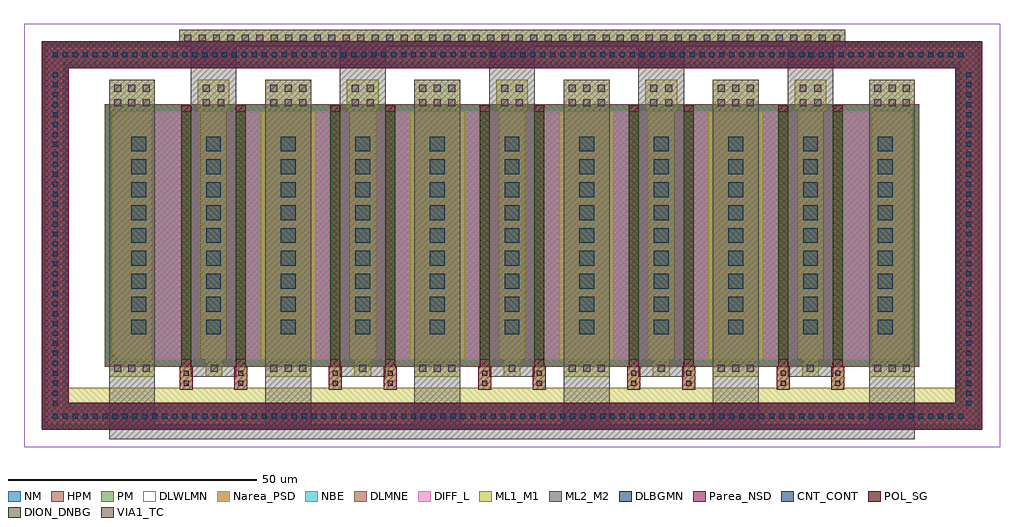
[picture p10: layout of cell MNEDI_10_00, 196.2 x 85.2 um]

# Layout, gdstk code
from math import pi, radians
import gdstk
lib = gdstk.Library(unit=1e-6, precision=1e-09)
def R(c, l, rs):  # rectangles x0, y0, x1, y1
    for r in rs: c.add(gdstk.rectangle(r[:2], r[2:], *l))
def A(c, l, x, y, w, h, nx, ny, dx, dy):  # array of equal rectangles
    R(c, l, [(x+i*dx, y+j*dy, x+i*dx+w, y+j*dy+h) for i in range(nx) for j in range(ny)])
def P(c, l, *ps):  # polygons
    for p in ps: c.add(gdstk.Polygon(p, *l))
DIFF_L = (3, 0)
NM = (7, 0)
POL_SG = (8, 0)
Narea_PSD = (9, 0)
CNT_CONT = (11, 0)
ML1_M1 = (13, 0)
VIA1_TC = (19, 0)
ML2_M2 = (20, 0)
Parea_NSD = (28, 0)
HPM = (33, 0)
PM = (35, 0)
DION_DNBG = (117, 0)
NBE = (147, 0)
DLWLMN = (151, 0)
DLMNE = (170, 0)
DLBGMN = (178, 0)

bgmn_cdns_696586995290 = lib.new_cell('BGMN_CDNS_696586995290')
R(bgmn_cdns_696586995290, DIFF_L, [(0,0,186.2,2.6)])
R(bgmn_cdns_696586995290, NM, [(-1.4,-1.4,187.6,4)])
A(bgmn_cdns_696586995290, CNT_CONT, 0.8, 0.8, 1, 1, 92, 1, 2, 0)
R(bgmn_cdns_696586995290, ML1_M1, [(0,0,186.2,2.6)])
R(bgmn_cdns_696586995290, Parea_NSD, [(-1.4,-1.4,187.6,4)])
R(bgmn_cdns_696586995290, HPM, [(-1.4,-1.4,187.6,4)])
R(bgmn_cdns_696586995290, PM, [(-1.4,-1.4,187.6,4)])

mne_cdns_696586995291 = lib.new_cell('MNE_CDNS_696586995291')
R(mne_cdns_696586995291, DIFF_L, [(10,0,12,50)])
P(mne_cdns_696586995291, DIFF_L, [(12,0),(12,50),(24.6,50),(26,48.6),(26,1.4),(24.6,0)],
  [(1.4,0),(0,1.4),(0,48.6),(1.4,50),(10,50),(10,0)])
R(mne_cdns_696586995291, NM, [(-1.4,-1.4,27.4,51.4)])
R(mne_cdns_696586995291, POL_SG, [(10,-1.2,12,0), (10,-1.2,12,51.2), (10,50,12,51.2)])
R(mne_cdns_696586995291, Narea_PSD, [(-1.4,-1.4,27.4,51.4)])
A(mne_cdns_696586995291, CNT_CONT, 4, 5.1, 3, 3, 1, 9, 0, 4.6)
A(mne_cdns_696586995291, CNT_CONT, 19, 5.1, 3, 3, 1, 9, 0, 4.6)
R(mne_cdns_696586995291, ML1_M1, [(2.8,0,8.2,50), (17.8,0,26,50)])
R(mne_cdns_696586995291, HPM, [(-1.4,-1.4,27.4,51.4)])
R(mne_cdns_696586995291, PM, [(-1.4,-1.4,27.4,51.4)])
R(mne_cdns_696586995291, DION_DNBG, [(10,0,12,50)])
R(mne_cdns_696586995291, NBE, [(-1.4,-1.4,27.4,51.4)])
R(mne_cdns_696586995291, DLMNE, [(-1.4,-1.4,27.4,51.4)])

bgmn_cdns_696586995292 = lib.new_cell('BGMN_CDNS_696586995292')
R(bgmn_cdns_696586995292, DIFF_L, [(0,0,70,2.6)])
R(bgmn_cdns_696586995292, NM, [(-1.4,-1.4,71.4,4)])
A(bgmn_cdns_696586995292, CNT_CONT, 0.8, 0.8, 1, 1, 34, 1, 2, 0)
R(bgmn_cdns_696586995292, ML1_M1, [(0,0,70,2.6)])
R(bgmn_cdns_696586995292, Parea_NSD, [(-1.4,-1.4,71.4,4)])
R(bgmn_cdns_696586995292, HPM, [(-1.4,-1.4,71.4,4)])
R(bgmn_cdns_696586995292, PM, [(-1.4,-1.4,71.4,4)])

wlmn_cdns_696586995293 = lib.new_cell('WLMN_CDNS_696586995293')
R(wlmn_cdns_696586995293, DLWLMN, [(0,0,196.2,85.2)])

tc14_cdns_696586995290 = lib.new_cell('TC14_CDNS_696586995290')
R(tc14_cdns_696586995290, ML1_M1, [(-4.6,-3.1,4.6,3.2)])
A(tc14_cdns_696586995290, VIA1_TC, -3.6, -2.1, 1.4, 1.4, 3, 2, 2.9, 2.9)
R(tc14_cdns_696586995290, ML2_M2, [(-4.6,-3.1,4.6,3.2)])

tc14_cdns_696586995291 = lib.new_cell('TC14_CDNS_696586995291')
R(tc14_cdns_696586995291, ML1_M1, [(-1.7,-3.1,1.7,3.2)])
R(tc14_cdns_696586995291, VIA1_TC, [(-0.7,-2.1,0.7,-0.7), (-0.7,0.8,0.7,2.2)])
R(tc14_cdns_696586995291, ML2_M2, [(-1.7,-3.1,1.7,3.2)])

tc14_cdns_696586995292 = lib.new_cell('TC14_CDNS_696586995292')
R(tc14_cdns_696586995292, ML1_M1, [(-4.6,-1.7,4.6,1.7)])
A(tc14_cdns_696586995292, VIA1_TC, -3.6, -0.7, 1.4, 1.4, 3, 1, 2.9, 0)
R(tc14_cdns_696586995292, ML2_M2, [(-4.6,-1.7,4.6,1.7)])

tc14_cdns_696586995293 = lib.new_cell('TC14_CDNS_696586995293')
R(tc14_cdns_696586995293, ML1_M1, [(-1.7,-1.7,1.7,1.7)])
R(tc14_cdns_696586995293, VIA1_TC, [(-0.7,-0.7,0.7,0.7)])
R(tc14_cdns_696586995293, ML2_M2, [(-1.7,-1.7,1.7,1.7)])

sgct_cdns_696586995294 = lib.new_cell('SGCT_CDNS_696586995294')
R(sgct_cdns_696586995294, POL_SG, [(-1.3,-2.3,1.3,2.3)])
R(sgct_cdns_696586995294, CNT_CONT, [(-0.5,-1.5,0.5,-0.5), (-0.5,0.5,0.5,1.5)])
R(sgct_cdns_696586995294, ML1_M1, [(-1.3,-2.3,1.3,2.3)])

tc14_cdns_696586995295 = lib.new_cell('TC14_CDNS_696586995295')
R(tc14_cdns_696586995295, ML1_M1, [(-66.9,-1.7,67,1.7)])
A(tc14_cdns_696586995295, VIA1_TC, -65.9, -0.7, 1.4, 1.4, 46, 1, 2.9, 0)
R(tc14_cdns_696586995295, ML2_M2, [(-66.9,-1.7,67,1.7)])

mnedi_10_00 = lib.new_cell('MNEDI_10_00')
R(mnedi_10_00, POL_SG, [(31.6,16.2,33.6,16.4), (42.6,16.2,44.6,16.4), (61.6,16.2,63.6,16.4), (72.6,16.2,74.6,16.4), (91.6,16.2,93.6,16.4), (102.6,16.2,104.6,16.4), (121.6,16.2,123.6,16.4), (132.6,16.2,134.6,16.4), (151.6,16.2,153.6,16.4), (162.6,16.2,164.6,16.4)])
R(mnedi_10_00, ML1_M1, [(7.6,7.6,188.6,12)])
A(mnedi_10_00, ML2_M2, 48.5, 1.6, 9.2, 72.3, 4, 1, 30, 0)
A(mnedi_10_00, ML2_M2, 33.5, 14.2, 9.2, 69.8, 5, 1, 30, 0)
R(mnedi_10_00, ML2_M2, [(17.1,1.6,26.3,73.9), (17.1,1.6,18.6,3.1), (169.9,1.6,179.1,73.9), (31.5,83,32.5,84)])
R(mnedi_10_00, DLBGMN, [(3.6,3.6,192.6,9), (3.6,6.2,9,79), (187.2,6.2,192.6,79), (3.6,76.2,192.6,81.6)])
mnedi_10_00.add(gdstk.FlexPath([(189.9,4.6),(189.9,80.6)], 3.4, ends="flush", simple_path=True, layer=13, datatype=0))  # ML1_M1
mnedi_10_00.add(gdstk.FlexPath([(4.6,6.3),(191.2,6.3)], 3.4, ends="flush", simple_path=True, layer=13, datatype=0))  # ML1_M1
mnedi_10_00.add(gdstk.FlexPath([(4.6,78.9),(191.6,78.9)], 3.4, ends="flush", simple_path=True, layer=13, datatype=0))  # ML1_M1
mnedi_10_00.add(gdstk.FlexPath([(6.3,4.6),(6.3,80.6)], 3.4, ends="flush", simple_path=True, layer=13, datatype=0))  # ML1_M1
mnedi_10_00.add(gdstk.FlexPath([(179.1,3.1),(17.1,3.1)], 3, ends="flush", simple_path=True, layer=20, datatype=0))  # ML2_M2
mnedi_10_00.add(gdstk.Reference(bgmn_cdns_696586995290, (5,77.6)))
mnedi_10_00.add(gdstk.Reference(bgmn_cdns_696586995290, (5,5)))
mnedi_10_00.add(gdstk.Reference(mne_cdns_696586995291, (152.6,17.6)))
mnedi_10_00.add(gdstk.Reference(mne_cdns_696586995291, (163.6,17.6), rotation=pi, x_reflection=True))
mnedi_10_00.add(gdstk.Reference(mne_cdns_696586995291, (122.6,17.6)))
mnedi_10_00.add(gdstk.Reference(mne_cdns_696586995291, (133.6,17.6), rotation=pi, x_reflection=True))
mnedi_10_00.add(gdstk.Reference(mne_cdns_696586995291, (43.6,17.6), rotation=pi, x_reflection=True))
mnedi_10_00.add(gdstk.Reference(mne_cdns_696586995291, (62.6,17.6)))
mnedi_10_00.add(gdstk.Reference(mne_cdns_696586995291, (32.6,17.6)))
mnedi_10_00.add(gdstk.Reference(mne_cdns_696586995291, (92.6,17.6)))
mnedi_10_00.add(gdstk.Reference(mne_cdns_696586995291, (73.6,17.6), rotation=pi, x_reflection=True))
mnedi_10_00.add(gdstk.Reference(mne_cdns_696586995291, (103.6,17.6), rotation=pi, x_reflection=True))
mnedi_10_00.add(gdstk.Reference(bgmn_cdns_696586995292, (191.2,7.6), rotation=pi/2))
mnedi_10_00.add(gdstk.Reference(bgmn_cdns_696586995292, (7.6,7.6), rotation=pi/2))
mnedi_10_00.add(gdstk.Reference(wlmn_cdns_696586995293, (0,0)))
mnedi_10_00.add(gdstk.Reference(tc14_cdns_696586995290, (174.5,70.7)))
mnedi_10_00.add(gdstk.Reference(tc14_cdns_696586995290, (143.1,70.7)))
mnedi_10_00.add(gdstk.Reference(tc14_cdns_696586995290, (113.1,70.7)))
mnedi_10_00.add(gdstk.Reference(tc14_cdns_696586995290, (83.1,70.7)))
mnedi_10_00.add(gdstk.Reference(tc14_cdns_696586995290, (53.1,70.7)))
mnedi_10_00.add(gdstk.Reference(tc14_cdns_696586995290, (21.7,70.7)))
mnedi_10_00.add(gdstk.Reference(tc14_cdns_696586995291, (159.6,70.7)))
mnedi_10_00.add(gdstk.Reference(tc14_cdns_696586995291, (156.6,70.7)))
mnedi_10_00.add(gdstk.Reference(tc14_cdns_696586995291, (129.6,70.7)))
mnedi_10_00.add(gdstk.Reference(tc14_cdns_696586995291, (126.6,70.7)))
mnedi_10_00.add(gdstk.Reference(tc14_cdns_696586995291, (99.6,70.7)))
mnedi_10_00.add(gdstk.Reference(tc14_cdns_696586995291, (96.6,70.7)))
mnedi_10_00.add(gdstk.Reference(tc14_cdns_696586995291, (69.6,70.7)))
mnedi_10_00.add(gdstk.Reference(tc14_cdns_696586995291, (66.6,70.7)))
mnedi_10_00.add(gdstk.Reference(tc14_cdns_696586995291, (39.6,70.7)))
mnedi_10_00.add(gdstk.Reference(tc14_cdns_696586995291, (36.6,70.7)))
mnedi_10_00.add(gdstk.Reference(tc14_cdns_696586995292, (174.5,15.9)))
mnedi_10_00.add(gdstk.Reference(tc14_cdns_696586995292, (143.1,15.9)))
mnedi_10_00.add(gdstk.Reference(tc14_cdns_696586995292, (113.1,15.9)))
mnedi_10_00.add(gdstk.Reference(tc14_cdns_696586995292, (83.1,15.9)))
mnedi_10_00.add(gdstk.Reference(tc14_cdns_696586995292, (53.1,15.9)))
mnedi_10_00.add(gdstk.Reference(tc14_cdns_696586995292, (21.7,15.9)))
mnedi_10_00.add(gdstk.Reference(tc14_cdns_696586995293, (158.1,15.9)))
mnedi_10_00.add(gdstk.Reference(tc14_cdns_696586995293, (128.1,15.9)))
mnedi_10_00.add(gdstk.Reference(tc14_cdns_696586995293, (98.1,15.9)))
mnedi_10_00.add(gdstk.Reference(tc14_cdns_696586995293, (68.1,15.9)))
mnedi_10_00.add(gdstk.Reference(tc14_cdns_696586995293, (38.2,15.9)))
mnedi_10_00.add(gdstk.Reference(sgct_cdns_696586995294, (163.6,13.9)))
mnedi_10_00.add(gdstk.Reference(sgct_cdns_696586995294, (152.6,13.9)))
mnedi_10_00.add(gdstk.Reference(sgct_cdns_696586995294, (133.6,13.9)))
mnedi_10_00.add(gdstk.Reference(sgct_cdns_696586995294, (122.6,13.9)))
mnedi_10_00.add(gdstk.Reference(sgct_cdns_696586995294, (103.6,13.9)))
mnedi_10_00.add(gdstk.Reference(sgct_cdns_696586995294, (92.6,13.9)))
mnedi_10_00.add(gdstk.Reference(sgct_cdns_696586995294, (73.6,13.9)))
mnedi_10_00.add(gdstk.Reference(sgct_cdns_696586995294, (62.6,13.9)))
mnedi_10_00.add(gdstk.Reference(sgct_cdns_696586995294, (43.6,13.9)))
mnedi_10_00.add(gdstk.Reference(sgct_cdns_696586995294, (32.6,13.9)))
mnedi_10_00.add(gdstk.Reference(tc14_cdns_696586995295, (98.1,82.3)))

lib.write_gds('MNEDI_10_00.gds')
